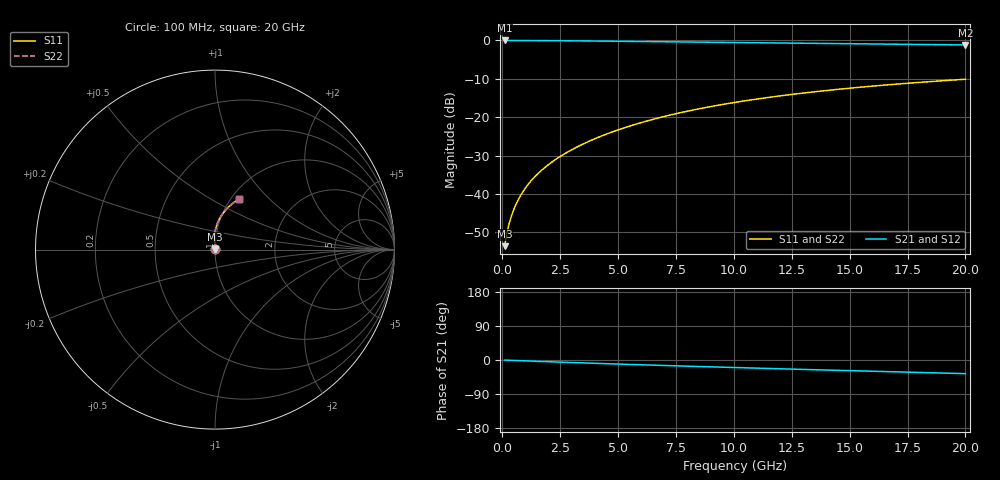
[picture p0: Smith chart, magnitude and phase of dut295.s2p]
! Touchstone file exported from HFSS 2024.1.0
!  File:  C:/UserFiles/LocalFiles/RDL_TSV_Batchsim/temp_RDL_top_295_1778690597.aedt
!  Generated:  12:45:36 AM May 14, 2026
!  Design:  RDL_top
!  Project:  temp_RDL_top_295_1778690597
!  Setup:  Setup1
!  Solution:  Sweep
! Variables:
!  dtsv = 10.80580581um
!  hbump = 3um
!  htsv = 58.45um
!  ldown = 100um
!  lrdl = 512.74um
!  p = 40
!  p1 = 59.49um
!  rhole = 1um
!  t = 450um
!  tdown = 3.915915916um
!  trdl = 4.44um
!  wdown = 15.38538539um
!  wrdl = 29.83um
# GHz S MA R 50.000000
! Terminal data exported
! Port[1] = Box2_T1
! Port[2] = Box2_T2
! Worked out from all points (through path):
!   200 points, 100 MHz to 20 GHz, reference 50 ohm
!   highest |S21| = -0.01 dB at 100 MHz (marker M1); lowest = -1.2 dB at 20 GHz (marker M2)
!   group delay of S21, straight-line fit = 4.9 ps
!   lowest |S11| = -53.6 dB at 100 MHz (marker M3), VSWR 1.00, Z = 50.2 + j0.135 ohm
!   |S11| at or under -10 dB: start of sweep to end of sweep
!   |S22| runs from -53.6 to -10.1 dB; largest |S21 - S12| = 2.7e-15
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0.1  0.002083 40.1  0.9984 -0.2  0.9984 -0.2  0.002083 40.1
! Gamma 0 0 0 0
! Port Impedance 50 0 50 0
0.2  0.003094 56.4  0.9982 -0.5  0.9982 -0.5  0.003094 56.4
0.3  0.004149 64.4  0.998 -0.7  0.998 -0.7  0.004149 64.4
0.4  0.005214 69.5  0.9979 -0.9  0.9979 -0.9  0.005214 69.5
0.5  0.006296 73.1  0.9977 -1.2  0.9977 -1.2  0.006296 73.1
0.6  0.007396 75.9  0.9975 -1.4  0.9975 -1.4  0.007396 75.9
0.8  0.009643 79.8  0.9972 -1.8  0.9972 -1.8  0.009643 79.8
1.1  0.01311 83.5  0.9964 -2.5  0.9964 -2.5  0.01311 83.5
1.5  0.0179 86.6  0.9952 -3.4  0.9952 -3.4  0.0179 86.6
2.1  0.02544 89.4  0.9927 -4.8  0.9927 -4.8  0.02545 89.4
2.7  0.03344 91.1  0.9896 -6.1  0.9896 -6.1  0.03344 91.1
3.5  0.04483 92.2  0.9848 -7.8  0.9848 -7.8  0.04484 92.2
4.2  0.05545 92.4  0.9801 -9.2  0.9801 -9.2  0.05546 92.4
5  0.06822 92.1  0.9744 -10.8  0.9744 -10.8  0.06823 92.1
5.9  0.08322 91.2  0.9678 -12.5  0.9678 -12.5  0.08323 91.2
6.8  0.09869 89.9  0.9612 -14.2  0.9612 -14.2  0.0987 89.9
8.4  0.1267 87.1  0.9498 -17.1  0.9498 -17.1  0.1268 87.1
10.1  0.1566 83.7  0.938 -20.0  0.938 -20.0  0.1566 83.7
11.7  0.1842 80.4  0.9272 -22.7  0.9272 -22.7  0.1842 80.4
13.4  0.2126 76.9  0.9159 -25.5  0.9159 -25.5  0.2127 76.9
16.7  0.2646 70.4  0.8942 -30.9  0.8942 -30.9  0.2646 70.4
20  0.3117 64.4  0.8726 -36.0  0.8726 -36.0  0.3118 64.4
